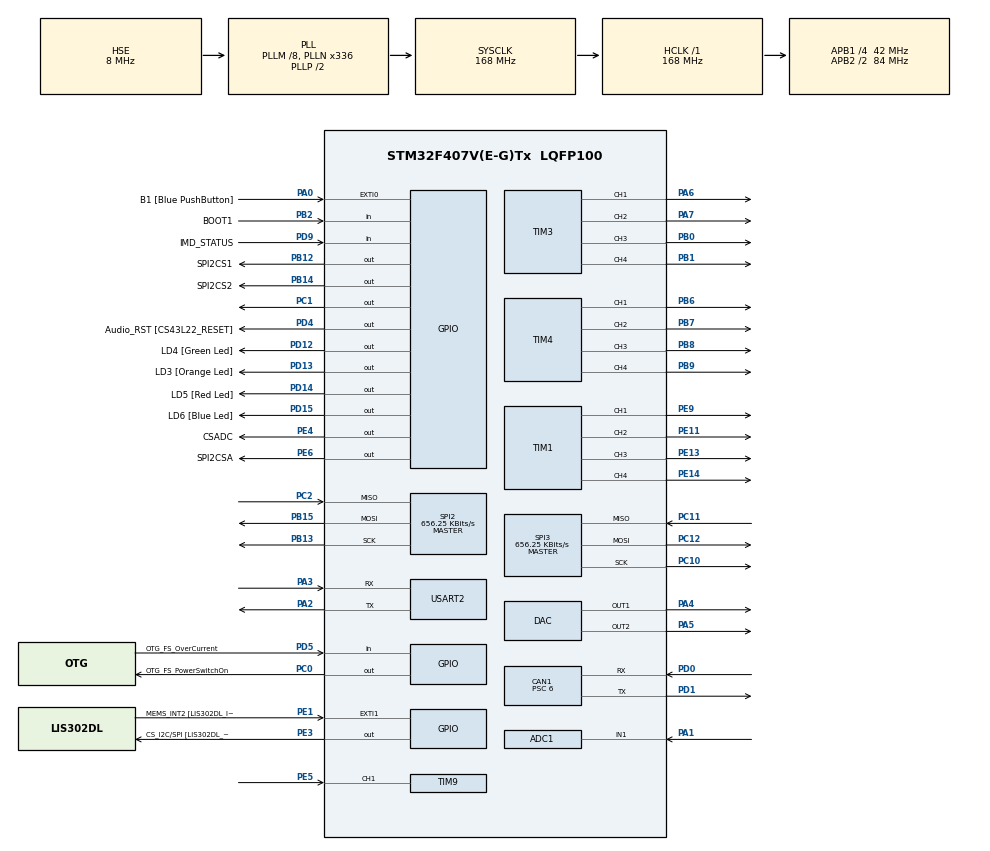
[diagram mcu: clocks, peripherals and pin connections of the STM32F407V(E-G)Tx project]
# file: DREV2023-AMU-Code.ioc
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ADC1.Channel-0\#ChannelRegularConversion=ADC_CHANNEL_1
ADC1.InjNumberOfConversion=0
ADC1.NbrOfConversionFlag=1
ADC1.Rank-0\#ChannelRegularConversion=1
ADC1.SamplingTime-0\#ChannelRegularConversion=ADC_SAMPLETIME_3CYCLES
ADC1.master=1
CAN1.BS1=CAN_BS1_11TQ
CAN1.BS2=CAN_BS2_2TQ
CAN1.CalculateBaudRate=500000
CAN1.CalculateTimeBit=2000
CAN1.CalculateTimeQuantum=142.85714285714286
CAN1.Prescaler=6
Dma.Request0=USART2_RX
Dma.USART2_RX.0.Direction=DMA_PERIPH_TO_MEMORY
Dma.USART2_RX.0.FIFOMode=DMA_FIFOMODE_DISABLE
Dma.USART2_RX.0.Instance=DMA1_Stream5
Dma.USART2_RX.0.MemDataAlignment=DMA_MDATAALIGN_BYTE
Dma.USART2_RX.0.MemInc=DMA_MINC_ENABLE
Dma.USART2_RX.0.Mode=DMA_CIRCULAR
Dma.USART2_RX.0.PeriphDataAlignment=DMA_PDATAALIGN_BYTE
Dma.USART2_RX.0.PeriphInc=DMA_PINC_DISABLE
Dma.USART2_RX.0.Priority=DMA_PRIORITY_MEDIUM
FREERTOS.Mutexes01=uart_mutex,Dynamic,NULL
FREERTOS.Tasks01=TempTask,36,128,Start_Temp_Mon,Default,NULL,Dynamic,NULL,NULL;V_Monitor,38,256,Start_V_Mon,Default,NULL,Dynamic,NULL,NULL;CLI,48,256,CLI_START,Default,NULL,Dynamic,NULL,NULL;Disp_V,8,128,Start_V_Display,Default,NULL,Dynamic,NULL,NULL;Charge,8,128,Start_Charging,Default,NULL,Dynamic,NULL,NULL;Discharge,8,128,Start_Discharging,Default,NULL,Dynamic,NULL,NULL;Balance,8,128,Start_Balancing,Default,NULL,Dynamic,NULL,NULL;HAL_CURR_COLL,8,128,Start_CURR_COLL,Default,NULL,Dynamic,NULL,NULL;Safety_Check,44,128,StartSafetyCheck,Default,NULL,Dynamic,NULL,NULL;To_ECU,8,128,ToECUTask,Default,NULL,Dynamic,NULL,NULL
FREERTOS.configENABLE_FPU=1
FREERTOS.configUSE_DAEMON_TASK_STARTUP_HOOK=1
FREERTOS.configUSE_NEWLIB_REENTRANT=1
Mcu.Family=STM32F4
Mcu.Name=STM32F407V(E-G)Tx
Mcu.Package=LQFP100
NVIC.DMA1_Stream5_IRQn=true\:5\:0\:false\:false\:true\:true\:false\:true\:true
NVIC.PriorityGroup=NVIC_PRIORITYGROUP_4
NVIC.TIM1_BRK_TIM9_IRQn=true\:5\:0\:false\:false\:true\:true\:true\:true\:true
NVIC.TIM2_IRQn=true\:15\:0\:false\:false\:true\:false\:false\:true\:true
NVIC.TimeBase=TIM2_IRQn
NVIC.TimeBaseIP=TIM2
NVIC.USART2_IRQn=true\:5\:0\:false\:false\:true\:true\:true\:true\:true
PA0-WKUP.GPIO_Label=B1 [Blue PushButton]
PA0-WKUP.GPIO_ModeDefaultEXTI=GPIO_MODE_EVT_RISING
PA0-WKUP.GPIO_PuPd=GPIO_NOPULL
PA0-WKUP.Signal=GPXTI0
PA1.Signal=ADCx_IN1
PA13.GPIO_Label=SWDIO
PA13.Mode=Serial_Wire
PA13.Signal=SYS_JTMS-SWDIO
PA14.GPIO_Label=SWCLK
PA14.Mode=Serial_Wire
PA14.Signal=SYS_JTCK-SWCLK
PA2.Mode=Asynchronous
PA2.Signal=USART2_TX
PA3.Mode=Asynchronous
PA3.Signal=USART2_RX
PA4.Signal=COMP_DAC1_group
PA5.Signal=COMP_DAC2_group
PA6.Signal=S_TIM3_CH1
PA7.Signal=S_TIM3_CH2
PB0.Signal=S_TIM3_CH3
PB1.Signal=S_TIM3_CH4
PB12.GPIO_Label=SPI2CS1
PB12.Signal=GPIO_Output
PB13.Mode=Full_Duplex_Master
PB13.Signal=SPI2_SCK
PB14.GPIO_Label=SPI2CS2
PB14.Signal=GPIO_Output
PB15.Mode=Full_Duplex_Master
PB15.Signal=SPI2_MOSI
PB2.GPIO_Label=BOOT1
PB2.GPIO_Mode=GPIO_MODE_INPUT
PB2.GPIO_PuPd=GPIO_NOPULL
PB2.Signal=GPIO_Input
PB6.Signal=S_TIM4_CH1
PB7.Signal=S_TIM4_CH2
PB8.Signal=S_TIM4_CH3
PB9.Signal=S_TIM4_CH4
PC0.GPIO_Label=OTG_FS_PowerSwitchOn
PC0.GPIO_PuPd=GPIO_NOPULL
PC0.GPIO_Speed=GPIO_SPEED_FREQ_LOW
PC0.PinState=GPIO_PIN_SET
PC0.Signal=GPIO_Output
PC1.Signal=GPIO_Output
PC10.Mode=Full_Duplex_Master
PC10.Signal=SPI3_SCK
PC11.Mode=Full_Duplex_Master
PC11.Signal=SPI3_MISO
PC12.Mode=Full_Duplex_Master
PC12.Signal=SPI3_MOSI
PC14-OSC32_IN.GPIO_Label=PC14-OSC32_IN
PC14-OSC32_IN.Mode=LSE-External-Oscillator
PC14-OSC32_IN.Signal=RCC_OSC32_IN
PC15-OSC32_OUT.GPIO_Label=PC15-OSC32_OUT
PC15-OSC32_OUT.Mode=LSE-External-Oscillator
PC15-OSC32_OUT.Signal=RCC_OSC32_OUT
PC2.Mode=Full_Duplex_Master
PC2.Signal=SPI2_MISO
PC3.GPIO_Label=PDM_OUT [MP45DT02_DOUT]
PC3.GPIO_Mode=GPIO_MODE_AF_PP
PC3.GPIO_PuPd=GPIO_NOPULL
PC3.GPIO_Speed=GPIO_SPEED_FREQ_LOW
PC3.Signal=I2S2_SD
PD0.Mode=CAN_Activate
PD0.Signal=CAN1_RX
PD1.Mode=CAN_Activate
PD1.Signal=CAN1_TX
PD12.GPIO_Label=LD4 [Green Led]
PD12.GPIO_PuPd=GPIO_NOPULL
PD12.GPIO_Speed=GPIO_SPEED_FREQ_LOW
PD12.Signal=GPIO_Output
PD13.GPIO_Label=LD3 [Orange Led]
PD13.GPIO_PuPd=GPIO_NOPULL
PD13.GPIO_Speed=GPIO_SPEED_FREQ_LOW
PD13.Signal=GPIO_Output
PD14.GPIO_Label=LD5 [Red Led]
PD14.GPIO_PuPd=GPIO_NOPULL
PD14.GPIO_Speed=GPIO_SPEED_FREQ_LOW
PD14.Signal=GPIO_Output
PD15.GPIO_Label=LD6 [Blue Led]
PD15.GPIO_PuPd=GPIO_NOPULL
PD15.GPIO_Speed=GPIO_SPEED_FREQ_LOW
PD15.Signal=GPIO_Output
PD4.GPIO_Label=Audio_RST [CS43L22_RESET]
PD4.GPIO_PuPd=GPIO_NOPULL
PD4.GPIO_Speed=GPIO_SPEED_FREQ_LOW
PD4.Signal=GPIO_Output
PD5.GPIO_Label=OTG_FS_OverCurrent
PD5.GPIO_Mode=GPIO_MODE_INPUT
PD5.GPIO_PuPd=GPIO_NOPULL
PD5.Signal=GPIO_Input
PD9.GPIO_Label=IMD_STATUS
PD9.Signal=GPIO_Input
PE1.GPIO_Label=MEMS_INT2 [LIS302DL_INT2]
PE1.GPIO_ModeDefaultEXTI=GPIO_MODE_EVT_RISING
PE1.GPIO_PuPd=GPIO_NOPULL
PE1.Signal=GPXTI1
PE11.Signal=S_TIM1_CH2
PE13.Signal=S_TIM1_CH3
PE14.Signal=S_TIM1_CH4
PE3.GPIO_Label=CS_I2C/SPI [LIS302DL_CS_I2C/SPI]
PE3.GPIO_PuPd=GPIO_NOPULL
PE3.GPIO_Speed=GPIO_SPEED_FREQ_LOW
PE3.Signal=GPIO_Output
PE4.GPIO_Label=CSADC
PE4.Signal=GPIO_Output
PE5.Signal=S_TIM9_CH1
PE6.GPIO_Label=SPI2CSA
PE6.Signal=GPIO_Output
PE9.Signal=S_TIM1_CH1
PH0-OSC_IN.GPIO_Label=PH0-OSC_IN
PH0-OSC_IN.Mode=HSE-External-Oscillator
PH0-OSC_IN.Signal=RCC_OSC_IN
PH1-OSC_OUT.GPIO_Label=PH1-OSC_OUT
PH1-OSC_OUT.Mode=HSE-External-Oscillator
PH1-OSC_OUT.Signal=RCC_OSC_OUT
ProjectManager.HeapSize=0x200
ProjectManager.StackSize=0x400
ProjectManager.TargetToolchain=STM32CubeIDE
RCC.48MHZClocksFreq_Value=48000000
RCC.AHBFreq_Value=168000000
RCC.APB1CLKDivider=RCC_HCLK_DIV4
RCC.APB1Freq_Value=42000000
RCC.APB1TimFreq_Value=84000000
RCC.APB2CLKDivider=RCC_HCLK_DIV2
RCC.APB2Freq_Value=84000000
RCC.APB2TimFreq_Value=168000000
RCC.CortexFreq_Value=168000000
RCC.HCLKFreq_Value=168000000
RCC.HSE_VALUE=8000000
RCC.HSI_VALUE=16000000
RCC.PLLM=8
RCC.PLLN=336
RCC.PLLQ=7
RCC.PLLSourceVirtual=RCC_PLLSOURCE_HSE
RCC.SYSCLKFreq_VALUE=168000000
RCC.SYSCLKSource=RCC_SYSCLKSOURCE_PLLCLK
RCC.VCOOutputFreq_Value=336000000
SH.ADCx_IN1.0=ADC1_IN1,IN1
SH.COMP_DAC1_group.0=DAC_OUT1,DAC_OUT1
SH.COMP_DAC2_group.0=DAC_OUT2,DAC_OUT2
SH.S_TIM1_CH1.0=TIM1_CH1,PWM Generation1 CH1
SH.S_TIM1_CH2.0=TIM1_CH2,PWM Generation2 CH2
SH.S_TIM1_CH3.0=TIM1_CH3,PWM Generation3 CH3
SH.S_TIM1_CH4.0=TIM1_CH4,PWM Generation4 CH4
SH.S_TIM3_CH1.0=TIM3_CH1,PWM Generation1 CH1
SH.S_TIM3_CH2.0=TIM3_CH2,PWM Generation2 CH2
SH.S_TIM3_CH3.0=TIM3_CH3,PWM Generation3 CH3
SH.S_TIM3_CH4.0=TIM3_CH4,PWM Generation4 CH4
SH.S_TIM4_CH1.0=TIM4_CH1,PWM Generation1 CH1
SH.S_TIM4_CH2.0=TIM4_CH2,PWM Generation2 CH2
SH.S_TIM4_CH3.0=TIM4_CH3,PWM Generation3 CH3
SH.S_TIM4_CH4.0=TIM4_CH4,PWM Generation4 CH4
SH.S_TIM9_CH1.0=TIM9_CH1,PWM_Input_1
SPI2.BaudRatePrescaler=SPI_BAUDRATEPRESCALER_64
SPI2.CLKPhase=SPI_PHASE_1EDGE
SPI2.CLKPolarity=SPI_POLARITY_LOW
SPI2.CalculateBaudRate=656.25 KBits/s
SPI2.Direction=SPI_DIRECTION_2LINES
SPI2.Mode=SPI_MODE_MASTER
SPI2.VirtualType=VM_MASTER
SPI3.BaudRatePrescaler=SPI_BAUDRATEPRESCALER_64
SPI3.CalculateBaudRate=656.25 KBits/s
SPI3.Direction=SPI_DIRECTION_2LINES
SPI3.Mode=SPI_MODE_MASTER
SPI3.VirtualType=VM_MASTER
TIM1.Channel-PWM\ Generation1\ CH1=TIM_CHANNEL_1
TIM1.Channel-PWM\ Generation2\ CH2=TIM_CHANNEL_2
TIM1.Channel-PWM\ Generation3\ CH3=TIM_CHANNEL_3
TIM1.Channel-PWM\ Generation4\ CH4=TIM_CHANNEL_4
TIM10.AutoReloadPreload=TIM_AUTORELOAD_PRELOAD_DISABLE
TIM10.Period=65535
TIM10.Prescaler=167
TIM12.Prescaler=16800
TIM3.Channel-PWM\ Generation1\ CH1=TIM_CHANNEL_1
TIM3.Channel-PWM\ Generation2\ CH2=TIM_CHANNEL_2
TIM3.Channel-PWM\ Generation3\ CH3=TIM_CHANNEL_3
TIM3.Channel-PWM\ Generation4\ CH4=TIM_CHANNEL_4
TIM4.Channel-PWM\ Generation1\ CH1=TIM_CHANNEL_1
TIM4.Channel-PWM\ Generation2\ CH2=TIM_CHANNEL_2
TIM4.Channel-PWM\ Generation3\ CH3=TIM_CHANNEL_3
TIM4.Channel-PWM\ Generation4\ CH4=TIM_CHANNEL_4
TIM8.Prescaler=167
TIM9.Prescaler=0
USART2.VirtualMode=VM_ASYNC
VP_FREERTOS_VS_CMSIS_V2.Mode=CMSIS_V2
VP_SYS_VS_tim2.Mode=TIM2
VP_TIM10_VS_ClockSourceINT.Mode=Enable_Timer
VP_TIM12_VS_ClockSourceINT.Mode=Internal
VP_TIM1_VS_ClockSourceINT.Mode=Internal
VP_TIM3_VS_ClockSourceINT.Mode=Internal
VP_TIM4_VS_ClockSourceINT.Mode=Internal
VP_TIM8_VS_ClockSourceINT.Mode=Internal
VP_TIM9_VS_ClockSourceINT.Mode=Internal
board=STM32F407G-DISC1

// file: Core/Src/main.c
/* USER CODE BEGIN Header */
/**
  ******************************************************************************
  * @file           : main.c
  * @brief          : Main program body
  ******************************************************************************
  * @attention
  *
  * Copyright (c) 2023 STMicroelectronics.
  * All rights reserved.
  *
  * This software is licensed under terms that can be found in the LICENSE file
  * in the root directory of this software component.
  * If no LICENSE file comes with this software, it is provided AS-IS.
  *
  ******************************************************************************
  */
/* USER CODE END Header */
#include "main.h"
#include "cmsis_os.h"

/* USER CODE BEGIN PD */

#ifdef __GNUC__
#define PUTCHAR_PROTOTYPE int __io_putchar(int ch)
#else
#define PUTCHAR_PROTOTYPE int fputc(int ch, FILE *f)
#endif

#define ENABLED 1
#define DISABLED 0
#define PWM 1
#define SCTL 2
#define DEBUGG 0

/* USER CODE END PD */

ADC_HandleTypeDef hadc1;

CAN_HandleTypeDef hcan1;

DAC_HandleTypeDef hdac;

SPI_HandleTypeDef hspi2;
SPI_HandleTypeDef hspi3;

TIM_HandleTypeDef htim1;
TIM_HandleTypeDef htim3;
TIM_HandleTypeDef htim4;
TIM_HandleTypeDef htim8;
TIM_HandleTypeDef htim9;
TIM_HandleTypeDef htim10;
TIM_HandleTypeDef htim12;

UART_HandleTypeDef huart2;
DMA_HandleTypeDef hdma_usart2_rx;

/* Definitions for TempTask */
osThreadId_t TempTaskHandle;
const osThreadAttr_t TempTask_attributes = {
  .name = "TempTask",
  .stack_size = 128 * 4,
  .priority = (osPriority_t) osPriorityAboveNormal4,
};
/* Definitions for V_Monitor */
osThreadId_t V_MonitorHandle;
const osThreadAttr_t V_Monitor_attributes = {
  .name = "V_Monitor",
  .stack_size = 256 * 4,
  .priority = (osPriority_t) osPriorityAboveNormal6,
};
/* Definitions for CLI */
osThreadId_t CLIHandle;
const osThreadAttr_t CLI_attributes = {
  .name = "CLI",
  .stack_size = 256 * 4,
  .priority = (osPriority_t) osPriorityRealtime,
};
/* Definitions for Disp_V */
osThreadId_t Disp_VHandle;
const osThreadAttr_t Disp_V_attributes = {
  .name = "Disp_V",
  .stack_size = 128 * 4,
  .priority = (osPriority_t) osPriorityLow,
};
/* Definitions for Charge */
osThreadId_t ChargeHandle;
const osThreadAttr_t Charge_attributes = {
  .name = "Charge",
  .stack_size = 128 * 4,
  .priority = (osPriority_t) osPriorityLow,
};
/* Definitions for Discharge */
osThreadId_t DischargeHandle;
const osThreadAttr_t Discharge_attributes = {
  .name = "Discharge",
  .stack_size = 128 * 4,
  .priority = (osPriority_t) osPriorityLow,
};
/* Definitions for Balance */
osThreadId_t BalanceHandle;
const osThreadAttr_t Balance_attributes = {
  .name = "Balance",
  .stack_size = 128 * 4,
  .priority = (osPriority_t) osPriorityLow,
};
/* Definitions for HAL_CURR_COLL */
osThreadId_t HAL_CURR_COLLHandle;
const osThreadAttr_t HAL_CURR_COLL_attributes = {
  .name = "HAL_CURR_COLL",
  .stack_size = 128 * 4,
  .priority = (osPriority_t) osPriorityLow,
};
/* Definitions for Safety_Check */
osThreadId_t Safety_CheckHandle;
const osThreadAttr_t Safety_Check_attributes = {
  .name = "Safety_Check",
  .stack_size = 128 * 4,
  .priority = (osPriority_t) osPriorityHigh4,
};
/* Definitions for To_ECU */
osThreadId_t To_ECUHandle;
const osThreadAttr_t To_ECU_attributes = {
  .name = "To_ECU",
  .stack_size = 128 * 4,
  .priority = (osPriority_t) osPriorityLow,
};
/* Definitions for uart_mutex */
osMutexId_t uart_mutexHandle;
const osMutexAttr_t uart_mutex_attributes = {
  .name = "uart_mutex"
};
/* USER CODE BEGIN PV */

const uint16_t MEASUREMENT_LOOP_TIME = 500; //!< Loop Time in milliseconds(ms)

//Under Voltage and Over Voltage Thresholds
const uint16_t OV_THRESHOLD = 41000; //!< Over voltage threshold ADC Code. LSB = 0.0001 ---(4.1V)
const uint16_t UV_THRESHOLD = 30000; //!< Under voltage threshold ADC Code. LSB = 0.0001 ---(3V)

//Loop Measurement Setup. These Variables are ENABLED or DISABLED. Remember ALL CAPS
const uint8_t WRITE_CONFIG = DISABLED;  //!< This is to ENABLED or DISABLED writing into to configuration registers in a continuous loop
const uint8_t READ_CONFIG = DISABLED; //!< This is to ENABLED or DISABLED reading the configuration registers in a continuous loop
const uint8_t MEASURE_CELL = ENABLED; //!< This is to ENABLED or DISABLED measuring the cell voltages in a continuous loop
const uint8_t MEASURE_AUX = DISABLED; //!< This is to ENABLED or DISABLED reading the auxiliary registers in a continuous loop
const uint8_t MEASURE_STAT = DISABLED; //!< This is to ENABLED or DISABLED reading the status registers in a continuous loop
const uint8_t PRINT_PEC = DISABLED; //!< This is to ENABLED or DISABLED printing the PEC Error Count in a continuous loop
/************************************
  END SETUP
*************************************/
/*******************************************************
 Global Battery Variables received from 681x commands
 These variables store the results from the LTC6813
 register reads and the array lengths must be based
 on the number of ICs on the stack
 ******************************************************/
cell_asic BMS_IC[TOTAL_IC]; //!< Global Battery Variable

uint8_t UART2_rxBuffer[1] = {0};

uint8_t uart_cmd = 0;

//uart cli
uint8_t rx_buf[RXBUF_SIZE];
uint8_t tx_buf[TXBUF_SIZE];
uint8_t command_buf[RXBUF_SIZE];
uint8_t cli_msg_pending;

DATALOG_DISABLED;
//declare app_data
static app_data a_d = {0};//static

/* USER CODE END PV */

void SystemClock_Config(void);
static void MX_GPIO_Init(void);
static void MX_DMA_Init(void);
static void MX_ADC1_Init(void);
static void MX_CAN1_Init(void);
static void MX_SPI2_Init(void);
static void MX_TIM1_Init(void);
static void MX_USART2_UART_Init(void);
static void MX_TIM3_Init(void);
static void MX_SPI3_Init(void);
static void MX_DAC_Init(void);
static void MX_TIM4_Init(void);
static void MX_TIM8_Init(void);
static void MX_TIM9_Init(void);
static void MX_TIM10_Init(void);
static void MX_TIM12_Init(void);
void Start_Temp_Mon(void *argument);
void Start_V_Mon(void *argument);
void CLI_START(void *argument);
void Start_V_Display(void *argument);
void Start_Charging(void *argument);
void Start_Discharging(void *argument);
void Start_Balancing(void *argument);
void Start_CURR_COLL(void *argument);
void StartSafetyCheck(void *argument);
void ToECUTask(void *argument);

/* USER CODE BEGIN PFP */
PUTCHAR_PROTOTYPE
{
  /* Place your implementation of fputc here */
  /* e.g. write a character to the USART1 and Loop until the end of transmission */
  HAL_UART_Transmit(&huart2, (uint8_t *)&ch, 1, HAL_MAX_DELAY);
  return ch;
}
/* USER CODE END PFP */

int main(void)
{
  /* USER CODE BEGIN 1 */
	a_d.ltc.OV_THRESHOLD = 0;

	a_d.ltc.REFON = 1; //!< Reference Powered Up Bit
	a_d.ltc.ADCOPT = 0; //!< ADC Mode option bit
	//!< GPIO Pin Control // Gpio 1,2,3,4,5
	a_d.ltc.GPIOBITS_A[0] = 1;a_d.ltc.GPIOBITS_A[1] = 1;a_d.ltc.GPIOBITS_A[2] = 1;a_d.ltc.GPIOBITS_A[3] = 1;a_d.ltc.GPIOBITS_A[4] = 1;
	//!< GPIO Pin Control // Gpio 6,7,8,9
	for(int i = 0; i<4;i++){
		a_d.ltc.GPIOBITS_B[i]=1;
	}
	a_d.ltc.UV=a_d.ltc.UV_THRESHOLD; //!< Under voltage Comparison Voltage
	a_d.ltc.OV=a_d.ltc.OV_THRESHOLD; //!< Over voltage Comparison Voltage
	//!< Discharge cell switch //Dcc 1,2,3,4,5,6,7,8,9,10,11,12
	for(int i = 0; i<4;i++){
		a_d.ltc.DCCBITS_A[i]=0;
	}
	//!< Discharge cell switch //Dcc 0,13,14,15
	for(int i = 0; i<7;i++){
		a_d.ltc.DCCBITS_B[i]=0;
	}
	//!< Discharge time value //Dcto 0,1,2,3  // Programed for 4 min
	a_d.ltc.DCTOBITS[0] = 1;a_d.ltc.DCTOBITS[1] = 0;a_d.ltc.DCTOBITS[2] = 1;a_d.ltc.DCTOBITS[3] = 0;
	/*Ensure that Dcto bits are set according to the required discharge time. Refer to the data sheet */
	a_d.ltc.FDRF = 0; //!< Force Digital Redundancy Failure Bit
	a_d.ltc.DTMEN = 1; //!< Enable Discharge Timer Monitor
	//!< Digital Redundancy Path Selection//ps-0,1
	a_d.ltc.PSBITS[0]= 0; a_d.ltc.PSBITS[1]= 0;
  /* USER CODE END 1 */

  /* MCU Configuration--------------------------------------------------------*/

  /* Reset of all peripherals, Initializes the Flash interface and the Systick. */
  HAL_Init();

  /* USER CODE BEGIN Init */
  LTC6813_init_cfg(TOTAL_IC, BMS_IC);
  LTC6813_init_cfgb(TOTAL_IC,BMS_IC);
  for (uint8_t current_ic = 0; current_ic<TOTAL_IC;current_ic++)
  {
    LTC6813_set_cfgr(current_ic,BMS_IC,a_d.ltc.REFON,a_d.ltc.ADCOPT,a_d.ltc.GPIOBITS_A,a_d.ltc.DCCBITS_A, a_d.ltc.DCTOBITS, a_d.ltc.UV, a_d.ltc.OV);
    LTC6813_set_cfgrb(current_ic,BMS_IC,a_d.ltc.FDRF,a_d.ltc.DTMEN,a_d.ltc.PSBITS,a_d.ltc.GPIOBITS_B,a_d.ltc.DCCBITS_B);
  }
  LTC6813_reset_crc_count(TOTAL_IC,BMS_IC);
  LTC6813_init_reg_limits(TOTAL_IC,BMS_IC);

  /* USER CODE END Init */

  /* Configure the system clock */
  SystemClock_Config();

  /* Initialize all configured peripherals */
  MX_GPIO_Init();
  MX_DMA_Init();
  MX_ADC1_Init();
  MX_CAN1_Init();
  MX_SPI2_Init();
  MX_TIM1_Init();
  MX_USART2_UART_Init();
  MX_TIM3_Init();
  MX_SPI3_Init();
  MX_DAC_Init();
  MX_TIM4_Init();
  MX_TIM8_Init();
  MX_TIM9_Init();
  MX_TIM10_Init();
  MX_TIM12_Init();
  /* USER CODE BEGIN 2 */
  a_d.hcan1 = &hcan1;
  a_d.hspi1 = &hspi2;//flip back
  a_d.hspi2 = &hspi3;//flip bakc
  a_d.huart2 = &huart2;
  a_d.hdma_usart2_rx = &hdma_usart2_rx;
  a_d.htim1 = &htim1;
  a_d.htim3 = &htim3;
  a_d.htim4 = &htim4;
  a_d.htim8 = &htim8;
  a_d.htim9 = &htim9;
  a_d.htim10 = &htim10;
  a_d.htim12 = &htim12;
  a_d.hdac = &hdac;
  a_d.hadc = &hadc1;
  a_d.BMS_IC = BMS_IC;
  a_d.debug = 0;
  a_d.Freq = 0;
  a_d.Duty = 0;
  a_d.stop_flag = 0;
  a_d.s_pin = 0;
  a_d.max_curr = 10;
  //printf(" ad:%d reg:%d",a_d.max_curr,max_curr);
  a_d.max_cell_volt = 4.2;
  a_d.min_cell_volt = 2.5;
  a_d.max_sys_volt = a_d.max_cell_volt*24;
  a_d.min_sys_volt = a_d.min_cell_volt*24;
  a_d.temp_safe = 1;
  a_d.volt_safe = 1;
  a_d.curr_safe = 1;
  a_d.max_soc = 0;
  a_d.min_soc = 0;
  a_d.VDisp = 0;
  a_d.shutdown = 0;
  a_d.mode = 127;
  a_d.ltcstring = 0;
  printf(" ad:%d reg:%d\r\n",a_d.mode,127);
  a_d.hall_current = 0;
  init_appdata(&a_d);

  //printf("a_d.max_curr %d\r\n",*a_d.max_curr);

  printf("LETSS GOOOOOOO\r\n");

  //HAL_GPIO_WritePin(GPIOA, GPIO_PIN_4, GPIO_PIN_SET);
  HAL_TIM_Base_Start(&htim1);
  HAL_TIM_Base_Start(&htim3);
  HAL_TIM_Base_Start(&htim4);
  HAL_TIM_Base_Start(&htim8);
  HAL_TIM_Base_Start(&htim9);
  HAL_TIM_Base_Start(&htim10);
  HAL_TIM_Base_Start(&htim12);

  HAL_TIM_PWM_Start(&htim1, TIM_CHANNEL_1);
  HAL_TIM_PWM_Start(&htim1, TIM_CHANNEL_2);
  HAL_TIM_PWM_Start(&htim1, TIM_CHANNEL_3);
  HAL_TIM_PWM_Start(&htim1, TIM_CHANNEL_4);
  HAL_TIM_PWM_Start(&htim3, TIM_CHANNEL_1);
  HAL_TIM_PWM_Start(&htim3, TIM_CHANNEL_2);
  HAL_TIM_PWM_Start(&htim3, TIM_CHANNEL_3);
  HAL_TIM_PWM_Start(&htim3, TIM_CHANNEL_4);
  HAL_TIM_PWM_Start(&htim4, TIM_CHANNEL_1);
  HAL_TIM_PWM_Start(&htim4, TIM_CHANNEL_2);
  HAL_TIM_PWM_Start(&htim4, TIM_CHANNEL_3);
  HAL_TIM_PWM_Start(&htim4, TIM_CHANNEL_4);

  HAL_DAC_Start(&hdac, DAC_CHANNEL_1);
  HAL_DAC_Start(&hdac, DAC_CHANNEL_2);
  HAL_ADC_Start(&hadc1);

  HAL_TIM_IC_Start_IT(&htim9, TIM_CHANNEL_1); // Primary channel - rising edge
  HAL_TIM_IC_Start(&htim9, TIM_CHANNEL_2);    // Secondary channel - falling edge

  //HAL_UART_Receive_IT (&huart2, UART2_rxBuffer, 1);
  __HAL_UART_ENABLE_IT(&huart2, UART_IT_IDLE);
  HAL_UART_Receive_DMA(&huart2, rx_buf, RXBUF_SIZE);
  /* USER CODE END 2 */

  /* Init scheduler */
  osKernelInitialize();
  /* Create the mutex(es) */
  /* creation of uart_mutex */
  uart_mutexHandle = osMutexNew(&uart_mutex_attributes);

  /* Create the thread(s) */
  /* creation of TempTask */
  TempTaskHandle = osThreadNew(Start_Temp_Mon, NULL, &TempTask_attributes);

  /* creation of V_Monitor */
  V_MonitorHandle = osThreadNew(Start_V_Mon, NULL, &V_Monitor_attributes);

  /* creation of CLI */
  CLIHandle = osThreadNew(CLI_START, NULL, &CLI_attributes);

  /* creation of Disp_V */
  Disp_VHandle = osThreadNew(Start_V_Display, NULL, &Disp_V_attributes);

  /* creation of Charge */
  ChargeHandle = osThreadNew(Start_Charging, NULL, &Charge_attributes);

  /* creation of Discharge */
  DischargeHandle = osThreadNew(Start_Discharging, NULL, &Discharge_attributes);

  /* creation of Balance */
  BalanceHandle = osThreadNew(Start_Balancing, NULL, &Balance_attributes);

  /* creation of HAL_CURR_COLL */
  HAL_CURR_COLLHandle = osThreadNew(Start_CURR_COLL, NULL, &HAL_CURR_COLL_attributes);

  /* creation of Safety_Check */
  Safety_CheckHandle = osThreadNew(StartSafetyCheck, NULL, &Safety_Check_attributes);

  /* creation of To_ECU */
  To_ECUHandle = osThreadNew(ToECUTask, NULL, &To_ECU_attributes);

  /* Start scheduler */
  osKernelStart();

  /* We should never get here as control is now taken by the scheduler */
  /* Infinite loop */
  while (1)
  {

  }
}

void SystemClock_Config(void)
{
  RCC_OscInitTypeDef RCC_OscInitStruct = {0};
  RCC_ClkInitTypeDef RCC_ClkInitStruct = {0};

  /** Configure the main internal regulator output voltage
  */
  __HAL_RCC_PWR_CLK_ENABLE();
  __HAL_PWR_VOLTAGESCALING_CONFIG(PWR_REGULATOR_VOLTAGE_SCALE1);

  /** Initializes the RCC Oscillators according to the specified parameters
  * in the RCC_OscInitTypeDef structure.
  */
  RCC_OscInitStruct.OscillatorType = RCC_OSCILLATORTYPE_HSE;
  RCC_OscInitStruct.HSEState = RCC_HSE_ON;
  RCC_OscInitStruct.PLL.PLLState = RCC_PLL_ON;
  RCC_OscInitStruct.PLL.PLLSource = RCC_PLLSOURCE_HSE;
  RCC_OscInitStruct.PLL.PLLM = 8;
  RCC_OscInitStruct.PLL.PLLN = 336;
  RCC_OscInitStruct.PLL.PLLP = RCC_PLLP_DIV2;
  RCC_OscInitStruct.PLL.PLLQ = 7;
  if (HAL_RCC_OscConfig(&RCC_OscInitStruct) != HAL_OK)
  {
    Error_Handler();
  }

  /** Initializes the CPU, AHB and APB buses clocks
  */
  RCC_ClkInitStruct.ClockType = RCC_CLOCKTYPE_HCLK|RCC_CLOCKTYPE_SYSCLK
                              |RCC_CLOCKTYPE_PCLK1|RCC_CLOCKTYPE_PCLK2;
  RCC_ClkInitStruct.SYSCLKSource = RCC_SYSCLKSOURCE_PLLCLK;
  RCC_ClkInitStruct.AHBCLKDivider = RCC_SYSCLK_DIV1;
  RCC_ClkInitStruct.APB1CLKDivider = RCC_HCLK_DIV4;
  RCC_ClkInitStruct.APB2CLKDivider = RCC_HCLK_DIV2;

  if (HAL_RCC_ClockConfig(&RCC_ClkInitStruct, FLASH_LATENCY_5) != HAL_OK)
  {
    Error_Handler();
  }
}

static void MX_ADC1_Init(void)
{

  ADC_ChannelConfTypeDef sConfig = {0};

  /** Configure the global features of the ADC (Clock, Resolution, Data Alignment and number of conversion)
  */
  hadc1.Instance = ADC1;
  hadc1.Init.ClockPrescaler = ADC_CLOCK_SYNC_PCLK_DIV4;
  hadc1.Init.Resolution = ADC_RESOLUTION_12B;
  hadc1.Init.ScanConvMode = DISABLE;
  hadc1.Init.ContinuousConvMode = DISABLE;
  hadc1.Init.DiscontinuousConvMode = DISABLE;
  hadc1.Init.ExternalTrigConvEdge = ADC_EXTERNALTRIGCONVEDGE_NONE;
  hadc1.Init.ExternalTrigConv = ADC_SOFTWARE_START;
  hadc1.Init.DataAlign = ADC_DATAALIGN_RIGHT;
  hadc1.Init.NbrOfConversion = 1;
  hadc1.Init.DMAContinuousRequests = DISABLE;
  hadc1.Init.EOCSelection = ADC_EOC_SINGLE_CONV;
  if (HAL_ADC_Init(&hadc1) != HAL_OK)
  {
    Error_Handler();
  }

  /** Configure for the selected ADC regular channel its corresponding rank in the sequencer and its sample time.
  */
  sConfig.Channel = ADC_CHANNEL_1;
  sConfig.Rank = 1;
  sConfig.SamplingTime = ADC_SAMPLETIME_3CYCLES;
  if (HAL_ADC_ConfigChannel(&hadc1, &sConfig) != HAL_OK)
  {
    Error_Handler();
  }

}

static void MX_CAN1_Init(void)
{

  hcan1.Instance = CAN1;
  hcan1.Init.Prescaler = 6;
  hcan1.Init.Mode = CAN_MODE_NORMAL;
  hcan1.Init.SyncJumpWidth = CAN_SJW_1TQ;
  hcan1.Init.TimeSeg1 = CAN_BS1_11TQ;
  hcan1.Init.TimeSeg2 = CAN_BS2_2TQ;
  hcan1.Init.TimeTriggeredMode = DISABLE;
  hcan1.Init.AutoBusOff = DISABLE;
  hcan1.Init.AutoWakeUp = DISABLE;
  hcan1.Init.AutoRetransmission = DISABLE;
  hcan1.Init.ReceiveFifoLocked = DISABLE;
  hcan1.Init.TransmitFifoPriority = DISABLE;
  if (HAL_CAN_Init(&hcan1) != HAL_OK)
  {
    Error_Handler();
  }
  /* USER CODE BEGIN CAN1_Init 2 */
  HAL_CAN_Start(&hcan1);
  /* USER CODE END CAN1_Init 2 */

}

static void MX_DAC_Init(void)
{

  DAC_ChannelConfTypeDef sConfig = {0};

  /** DAC Initialization
  */
  hdac.Instance = DAC;
  if (HAL_DAC_Init(&hdac) != HAL_OK)
  {
    Error_Handler();
  }

  /** DAC channel OUT1 config
  */
  sConfig.DAC_Trigger = DAC_TRIGGER_NONE;
  sConfig.DAC_OutputBuffer = DAC_OUTPUTBUFFER_ENABLE;
  if (HAL_DAC_ConfigChannel(&hdac, &sConfig, DAC_CHANNEL_1) != HAL_OK)
  {
    Error_Handler();
  }

  /** DAC channel OUT2 config
  */
  if (HAL_DAC_ConfigChannel(&hdac, &sConfig, DAC_CHANNEL_2) != HAL_OK)
  {
    Error_Handler();
  }

}

static void MX_SPI2_Init(void)
{

  /* SPI2 parameter configuration*/
  hspi2.Instance = SPI2;
  hspi2.Init.Mode = SPI_MODE_MASTER;
  hspi2.Init.Direction = SPI_DIRECTION_2LINES;
  hspi2.Init.DataSize = SPI_DATASIZE_8BIT;
  hspi2.Init.CLKPolarity = SPI_POLARITY_LOW;
  hspi2.Init.CLKPhase = SPI_PHASE_1EDGE;
  hspi2.Init.NSS = SPI_NSS_SOFT;
  hspi2.Init.BaudRatePrescaler = SPI_BAUDRATEPRESCALER_64;
  hspi2.Init.FirstBit = SPI_FIRSTBIT_MSB;
  hspi2.Init.TIMode = SPI_TIMODE_DISABLE;
  hspi2.Init.CRCCalculation = SPI_CRCCALCULATION_DISABLE;
  hspi2.Init.CRCPolynomial = 10;
  if (HAL_SPI_Init(&hspi2) != HAL_OK)
  {
    Error_Handler();
  }

}

static void MX_SPI3_Init(void)
{

  /* SPI3 parameter configuration*/
  hspi3.Instance = SPI3;
  hspi3.Init.Mode = SPI_MODE_MASTER;
  hspi3.Init.Direction = SPI_DIRECTION_2LINES;
  hspi3.Init.DataSize = SPI_DATASIZE_8BIT;
  hspi3.Init.CLKPolarity = SPI_POLARITY_LOW;
  hspi3.Init.CLKPhase = SPI_PHASE_1EDGE;
  hspi3.Init.NSS = SPI_NSS_SOFT;
  hspi3.Init.BaudRatePrescaler = SPI_BAUDRATEPRESCALER_64;
  hspi3.Init.FirstBit = SPI_FIRSTBIT_MSB;
  hspi3.Init.TIMode = SPI_TIMODE_DISABLE;
  hspi3.Init.CRCCalculation = SPI_CRCCALCULATION_DISABLE;
  hspi3.Init.CRCPolynomial = 10;
  if (HAL_SPI_Init(&hspi3) != HAL_OK)
  {
    Error_Handler();
  }

}

static void MX_TIM1_Init(void)
{

  TIM_ClockConfigTypeDef sClockSourceConfig = {0};
  TIM_MasterConfigTypeDef sMasterConfig = {0};
  TIM_OC_InitTypeDef sConfigOC = {0};
  TIM_BreakDeadTimeConfigTypeDef sBreakDeadTimeConfig = {0};

  htim1.Instance = TIM1;
  htim1.Init.Prescaler = 0;
  htim1.Init.CounterMode = TIM_COUNTERMODE_UP;
  htim1.Init.Period = 65535;
  htim1.Init.ClockDivision = TIM_CLOCKDIVISION_DIV1;
  htim1.Init.RepetitionCounter = 0;
  htim1.Init.AutoReloadPreload = TIM_AUTORELOAD_PRELOAD_DISABLE;
  if (HAL_TIM_Base_Init(&htim1) != HAL_OK)
  {
    Error_Handler();
  }
  sClockSourceConfig.ClockSource = TIM_CLOCKSOURCE_INTERNAL;
  if (HAL_TIM_ConfigClockSource(&htim1, &sClockSourceConfig) != HAL_OK)
  {
    Error_Handler();
  }
  if (HAL_TIM_PWM_Init(&htim1) != HAL_OK)
  {
    Error_Handler();
  }
  sMasterConfig.MasterOutputTrigger = TIM_TRGO_RESET;
  sMasterConfig.MasterSlaveMode = TIM_MASTERSLAVEMODE_DISABLE;
  if (HAL_TIMEx_MasterConfigSynchronization(&htim1, &sMasterConfig) != HAL_OK)
  {
    Error_Handler();
  }
  sConfigOC.OCMode = TIM_OCMODE_PWM1;
  sConfigOC.Pulse = 0;
  sConfigOC.OCPolarity = TIM_OCPOLARITY_HIGH;
  sConfigOC.OCNPolarity = TIM_OCNPOLARITY_HIGH;
  sConfigOC.OCFastMode = TIM_OCFAST_DISABLE;
  sConfigOC.OCIdleState = TIM_OCIDLESTATE_RESET;
  sConfigOC.OCNIdleState = TIM_OCNIDLESTATE_RESET;
  if (HAL_TIM_PWM_ConfigChannel(&htim1, &sConfigOC, TIM_CHANNEL_1) != HAL_OK)
  {
    Error_Handler();
  }
  if (HAL_TIM_PWM_ConfigChannel(&htim1, &sConfigOC, TIM_CHANNEL_2) != HAL_OK)
  {
    Error_Handler();
  }
  if (HAL_TIM_PWM_ConfigChannel(&htim1, &sConfigOC, TIM_CHANNEL_3) != HAL_OK)
  {
    Error_Handler();
  }
  if (HAL_TIM_PWM_ConfigChannel(&htim1, &sConfigOC, TIM_CHANNEL_4) != HAL_OK)
  {
    Error_Handler();
  }
  sBreakDeadTimeConfig.OffStateRunMode = TIM_OSSR_DISABLE;
  sBreakDeadTimeConfig.OffStateIDLEMode = TIM_OSSI_DISABLE;
  sBreakDeadTimeConfig.LockLevel = TIM_LOCKLEVEL_OFF;
  sBreakDeadTimeConfig.DeadTime = 0;
  sBreakDeadTimeConfig.BreakState = TIM_BREAK_DISABLE;
  sBreakDeadTimeConfig.BreakPolarity = TIM_BREAKPOLARITY_HIGH;
  sBreakDeadTimeConfig.AutomaticOutput = TIM_AUTOMATICOUTPUT_DISABLE;
  if (HAL_TIMEx_ConfigBreakDeadTime(&htim1, &sBreakDeadTimeConfig) != HAL_OK)
  {
    Error_Handler();
  }
  HAL_TIM_MspPostInit(&htim1);

}

static void MX_TIM3_Init(void)
{

  TIM_ClockConfigTypeDef sClockSourceConfig = {0};
  TIM_MasterConfigTypeDef sMasterConfig = {0};
  TIM_OC_InitTypeDef sConfigOC = {0};

  htim3.Instance = TIM3;
  htim3.Init.Prescaler = 0;
  htim3.Init.CounterMode = TIM_COUNTERMODE_UP;
  htim3.Init.Period = 65535;
  htim3.Init.ClockDivision = TIM_CLOCKDIVISION_DIV1;
  htim3.Init.AutoReloadPreload = TIM_AUTORELOAD_PRELOAD_DISABLE;
  if (HAL_TIM_Base_Init(&htim3) != HAL_OK)
  {
    Error_Handler();
  }
  sClockSourceConfig.ClockSource = TIM_CLOCKSOURCE_INTERNAL;
  if (HAL_TIM_ConfigClockSource(&htim3, &sClockSourceConfig) != HAL_OK)
  {
    Error_Handler();
  }
  if (HAL_TIM_PWM_Init(&htim3) != HAL_OK)
  {
    Error_Handler();
  }
  sMasterConfig.MasterOutputTrigger = TIM_TRGO_RESET;
  sMasterConfig.MasterSlaveMode = TIM_MASTERSLAVEMODE_DISABLE;
  if (HAL_TIMEx_MasterConfigSynchronization(&htim3, &sMasterConfig) != HAL_OK)
  {
    Error_Handler();
  }
  sConfigOC.OCMode = TIM_OCMODE_PWM1;
  sConfigOC.Pulse = 0;
  sConfigOC.OCPolarity = TIM_OCPOLARITY_HIGH;
  sConfigOC.OCFastMode = TIM_OCFAST_DISABLE;
  if (HAL_TIM_PWM_ConfigChannel(&htim3, &sConfigOC, TIM_CHANNEL_1) != HAL_OK)
  {
    Error_Handler();
  }
  if (HAL_TIM_PWM_ConfigChannel(&htim3, &sConfigOC, TIM_CHANNEL_2) != HAL_OK)
  {
    Error_Handler();
  }
  if (HAL_TIM_PWM_ConfigChannel(&htim3, &sConfigOC, TIM_CHANNEL_3) != HAL_OK)
  {
    Error_Handler();
  }
  if (HAL_TIM_PWM_ConfigChannel(&htim3, &sConfigOC, TIM_CHANNEL_4) != HAL_OK)
  {
    Error_Handler();
  }
  HAL_TIM_MspPostInit(&htim3);

}

static void MX_TIM4_Init(void)
{

  TIM_ClockConfigTypeDef sClockSourceConfig = {0};
  TIM_MasterConfigTypeDef sMasterConfig = {0};
  TIM_OC_InitTypeDef sConfigOC = {0};

  htim4.Instance = TIM4;
  htim4.Init.Prescaler = 0;
  htim4.Init.CounterMode = TIM_COUNTERMODE_UP;
  htim4.Init.Period = 65535;
  htim4.Init.ClockDivision = TIM_CLOCKDIVISION_DIV1;
  htim4.Init.AutoReloadPreload = TIM_AUTORELOAD_PRELOAD_DISABLE;
  if (HAL_TIM_Base_Init(&htim4) != HAL_OK)
  {
    Error_Handler();
  }
  sClockSourceConfig.ClockSource = TIM_CLOCKSOURCE_INTERNAL;
  if (HAL_TIM_ConfigClockSource(&htim4, &sClockSourceConfig) != HAL_OK)
  {
    Error_Handler();
  }
  if (HAL_TIM_PWM_Init(&htim4) != HAL_OK)
  {
    Error_Handler();
  }
  sMasterConfig.MasterOutputTrigger = TIM_TRGO_RESET;
  sMasterConfig.MasterSlaveMode = TIM_MASTERSLAVEMODE_DISABLE;
  if (HAL_TIMEx_MasterConfigSynchronization(&htim4, &sMasterConfig) != HAL_OK)
  {
    Error_Handler();
  }
  sConfigOC.OCMode = TIM_OCMODE_PWM1;
  sConfigOC.Pulse = 0;
  sConfigOC.OCPolarity = TIM_OCPOLARITY_HIGH;
  sConfigOC.OCFastMode = TIM_OCFAST_DISABLE;
  if (HAL_TIM_PWM_ConfigChannel(&htim4, &sConfigOC, TIM_CHANNEL_1) != HAL_OK)
  {
    Error_Handler();
  }
  if (HAL_TIM_PWM_ConfigChannel(&htim4, &sConfigOC, TIM_CHANNEL_2) != HAL_OK)
  {
    Error_Handler();
  }
  if (HAL_TIM_PWM_ConfigChannel(&htim4, &sConfigOC, TIM_CHANNEL_3) != HAL_OK)
  {
    Error_Handler();
  }
  if (HAL_TIM_PWM_ConfigChannel(&htim4, &sConfigOC, TIM_CHANNEL_4) != HAL_OK)
  {
    Error_Handler();
  }
  HAL_TIM_MspPostInit(&htim4);

}

static void MX_TIM8_Init(void)
{

  TIM_ClockConfigTypeDef sClockSourceConfig = {0};
  TIM_MasterConfigTypeDef sMasterConfig = {0};

  htim8.Instance = TIM8;
  htim8.Init.Prescaler = 167;
  htim8.Init.CounterMode = TIM_COUNTERMODE_UP;
  htim8.Init.Period = 65535;
  htim8.Init.ClockDivision = TIM_CLOCKDIVISION_DIV1;
  htim8.Init.RepetitionCounter = 0;
  htim8.Init.AutoReloadPreload = TIM_AUTORELOAD_PRELOAD_DISABLE;
  if (HAL_TIM_Base_Init(&htim8) != HAL_OK)
  {
    Error_Handler();
  }
  sClockSourceConfig.ClockSource = TIM_CLOCKSOURCE_INTERNAL;
  if (HAL_TIM_ConfigClockSource(&htim8, &sClockSourceConfig) != HAL_OK)
  {
    Error_Handler();
  }
  sMasterConfig.MasterOutputTrigger = TIM_TRGO_RESET;
  sMasterConfig.MasterSlaveMode = TIM_MASTERSLAVEMODE_DISABLE;
  if (HAL_TIMEx_MasterConfigSynchronization(&htim8, &sMasterConfig) != HAL_OK)
  {
    Error_Handler();
  }

}

static void MX_TIM9_Init(void)
{

  TIM_ClockConfigTypeDef sClockSourceConfig = {0};
  TIM_SlaveConfigTypeDef sSlaveConfig = {0};
  TIM_IC_InitTypeDef sConfigIC = {0};

  htim9.Instance = TIM9;
  htim9.Init.Prescaler = 0;
  htim9.Init.CounterMode = TIM_COUNTERMODE_UP;
  htim9.Init.Period = 65535;
  htim9.Init.ClockDivision = TIM_CLOCKDIVISION_DIV1;
  htim9.Init.AutoReloadPreload = TIM_AUTORELOAD_PRELOAD_DISABLE;
  if (HAL_TIM_Base_Init(&htim9) != HAL_OK)
  {
    Error_Handler();
  }
  sClockSourceConfig.ClockSource = TIM_CLOCKSOURCE_INTERNAL;
  if (HAL_TIM_ConfigClockSource(&htim9, &sClockSourceConfig) != HAL_OK)
  {
    Error_Handler();
  }
  if (HAL_TIM_IC_Init(&htim9) != HAL_OK)
  {
    Error_Handler();
  }
  sSlaveConfig.SlaveMode = TIM_SLAVEMODE_RESET;
  sSlaveConfig.InputTrigger = TIM_TS_TI1FP1;
  sSlaveConfig.TriggerPolarity = TIM_INPUTCHANNELPOLARITY_RISING;
  sSlaveConfig.TriggerPrescaler = TIM_ICPSC_DIV1;
  sSlaveConfig.TriggerFilter = 0;
  if (HAL_TIM_SlaveConfigSynchro(&htim9, &sSlaveConfig) != HAL_OK)
  {
    Error_Handler();
  }
  sConfigIC.ICPolarity = TIM_INPUTCHANNELPOLARITY_RISING;
  sConfigIC.ICSelection = TIM_ICSELECTION_DIRECTTI;
  sConfigIC.ICPrescaler = TIM_ICPSC_DIV1;
  sConfigIC.ICFilter = 0;
  if (HAL_TIM_IC_ConfigChannel(&htim9, &sConfigIC, TIM_CHANNEL_1) != HAL_OK)
  {
    Error_Handler();
  }
  sConfigIC.ICPolarity = TIM_INPUTCHANNELPOLARITY_FALLING;
  sConfigIC.ICSelection = TIM_ICSELECTION_INDIRECTTI;
  if (HAL_TIM_IC_ConfigChannel(&htim9, &sConfigIC, TIM_CHANNEL_2) != HAL_OK)
  {
    Error_Handler();
  }

}

static void MX_TIM10_Init(void)
{

  htim10.Instance = TIM10;
  htim10.Init.Prescaler = 167;
  htim10.Init.CounterMode = TIM_COUNTERMODE_UP;
  htim10.Init.Period = 65535;
  htim10.Init.ClockDivision = TIM_CLOCKDIVISION_DIV1;
  htim10.Init.AutoReloadPreload = TIM_AUTORELOAD_PRELOAD_DISABLE;
  if (HAL_TIM_Base_Init(&htim10) != HAL_OK)
  {
    Error_Handler();
  }

}

static void MX_TIM12_Init(void)
{

  TIM_ClockConfigTypeDef sClockSourceConfig = {0};

  htim12.Instance = TIM12;
  htim12.Init.Prescaler = 16800;
  htim12.Init.CounterMode = TIM_COUNTERMODE_UP;
  htim12.Init.Period = 65535;
  htim12.Init.ClockDivision = TIM_CLOCKDIVISION_DIV1;
  htim12.Init.AutoReloadPreload = TIM_AUTORELOAD_PRELOAD_DISABLE;
  if (HAL_TIM_Base_Init(&htim12) != HAL_OK)
  {
    Error_Handler();
  }
  sClockSourceConfig.ClockSource = TIM_CLOCKSOURCE_INTERNAL;
  if (HAL_TIM_ConfigClockSource(&htim12, &sClockSourceConfig) != HAL_OK)
  {
    Error_Handler();
  }

}

static void MX_USART2_UART_Init(void)
{

  huart2.Instance = USART2;
  huart2.Init.BaudRate = 115200;
  huart2.Init.WordLength = UART_WORDLENGTH_8B;
  huart2.Init.StopBits = UART_STOPBITS_1;
  huart2.Init.Parity = UART_PARITY_NONE;
  huart2.Init.Mode = UART_MODE_TX_RX;
  huart2.Init.HwFlowCtl = UART_HWCONTROL_NONE;
  huart2.Init.OverSampling = UART_OVERSAMPLING_16;
  if (HAL_UART_Init(&huart2) != HAL_OK)
  {
    Error_Handler();
  }

}

static void MX_DMA_Init(void)
{

  /* DMA controller clock enable */
  __HAL_RCC_DMA1_CLK_ENABLE();

  /* DMA interrupt init */
  /* DMA1_Stream5_IRQn interrupt configuration */
  HAL_NVIC_SetPriority(DMA1_Stream5_IRQn, 5, 0);
  HAL_NVIC_EnableIRQ(DMA1_Stream5_IRQn);

}

static void MX_GPIO_Init(void)
{
  GPIO_InitTypeDef GPIO_InitStruct = {0};

  /* GPIO Ports Clock Enable */
  __HAL_RCC_GPIOE_CLK_ENABLE();
  __HAL_RCC_GPIOC_CLK_ENABLE();
  __HAL_RCC_GPIOH_CLK_ENABLE();
  __HAL_RCC_GPIOA_CLK_ENABLE();
  __HAL_RCC_GPIOB_CLK_ENABLE();
  __HAL_RCC_GPIOD_CLK_ENABLE();

  /*Configure GPIO pin Output Level */
  HAL_GPIO_WritePin(GPIOE, CS_I2C_SPI_Pin|CSADC_Pin|SPI2CSA_Pin, GPIO_PIN_RESET);

  /*Configure GPIO pin Output Level */
  HAL_GPIO_WritePin(OTG_FS_PowerSwitchOn_GPIO_Port, OTG_FS_PowerSwitchOn_Pin, GPIO_PIN_SET);

  /*Configure GPIO pin Output Level */
  HAL_GPIO_WritePin(GPIOC, GPIO_PIN_1, GPIO_PIN_RESET);

  /*Configure GPIO pin Output Level */
  HAL_GPIO_WritePin(GPIOB, SPI2CS1_Pin|SPI2CS2_Pin, GPIO_PIN_RESET);

  /*Configure GPIO pin Output Level */
  HAL_GPIO_WritePin(GPIOD, LD4_Pin|LD3_Pin|LD5_Pin|LD6_Pin
                          |Audio_RST_Pin, GPIO_PIN_RESET);

  /*Configure GPIO pins : CS_I2C_SPI_Pin CSADC_Pin SPI2CSA_Pin */
  GPIO_InitStruct.Pin = CS_I2C_SPI_Pin|CSADC_Pin|SPI2CSA_Pin;
  GPIO_InitStruct.Mode = GPIO_MODE_OUTPUT_PP;
  GPIO_InitStruct.Pull = GPIO_NOPULL;
  GPIO_InitStruct.Speed = GPIO_SPEED_FREQ_LOW;
  HAL_GPIO_Init(GPIOE, &GPIO_InitStruct);

  /*Configure GPIO pins : OTG_FS_PowerSwitchOn_Pin PC1 */
  GPIO_InitStruct.Pin = OTG_FS_PowerSwitchOn_Pin|GPIO_PIN_1;
  GPIO_InitStruct.Mode = GPIO_MODE_OUTPUT_PP;
  GPIO_InitStruct.Pull = GPIO_NOPULL;
  GPIO_InitStruct.Speed = GPIO_SPEED_FREQ_LOW;
  HAL_GPIO_Init(GPIOC, &GPIO_InitStruct);

  /*Configure GPIO pin : PDM_OUT_Pin */
  GPIO_InitStruct.Pin = PDM_OUT_Pin;
  GPIO_InitStruct.Mode = GPIO_MODE_AF_PP;
  GPIO_InitStruct.Pull = GPIO_NOPULL;
  GPIO_InitStruct.Speed = GPIO_SPEED_FREQ_LOW;
  GPIO_InitStruct.Alternate = GPIO_AF5_SPI2;
  HAL_GPIO_Init(PDM_OUT_GPIO_Port, &GPIO_InitStruct);

  /*Configure GPIO pin : B1_Pin */
  GPIO_InitStruct.Pin = B1_Pin;
  GPIO_InitStruct.Mode = GPIO_MODE_EVT_RISING;
  GPIO_InitStruct.Pull = GPIO_NOPULL;
  HAL_GPIO_Init(B1_GPIO_Port, &GPIO_InitStruct);

  /*Configure GPIO pin : BOOT1_Pin */
  GPIO_InitStruct.Pin = BOOT1_Pin;
  GPIO_InitStruct.Mode = GPIO_MODE_INPUT;
  GPIO_InitStruct.Pull = GPIO_NOPULL;
  HAL_GPIO_Init(BOOT1_GPIO_Port, &GPIO_InitStruct);

  /*Configure GPIO pins : SPI2CS1_Pin SPI2CS2_Pin */
  GPIO_InitStruct.Pin = SPI2CS1_Pin|SPI2CS2_Pin;
  GPIO_InitStruct.Mode = GPIO_MODE_OUTPUT_PP;
  GPIO_InitStruct.Pull = GPIO_NOPULL;
  GPIO_InitStruct.Speed = GPIO_SPEED_FREQ_LOW;
  HAL_GPIO_Init(GPIOB, &GPIO_InitStruct);

  /*Configure GPIO pins : IMD_STATUS_Pin OTG_FS_OverCurrent_Pin */
  GPIO_InitStruct.Pin = IMD_STATUS_Pin|OTG_FS_OverCurrent_Pin;
  GPIO_InitStruct.Mode = GPIO_MODE_INPUT;
  GPIO_InitStruct.Pull = GPIO_NOPULL;
  HAL_GPIO_Init(GPIOD, &GPIO_InitStruct);

  /*Configure GPIO pins : LD4_Pin LD3_Pin LD5_Pin LD6_Pin
                           Audio_RST_Pin */
  GPIO_InitStruct.Pin = LD4_Pin|LD3_Pin|LD5_Pin|LD6_Pin
                          |Audio_RST_Pin;
  GPIO_InitStruct.Mode = GPIO_MODE_OUTPUT_PP;
  GPIO_InitStruct.Pull = GPIO_NOPULL;
  GPIO_InitStruct.Speed = GPIO_SPEED_FREQ_LOW;
  HAL_GPIO_Init(GPIOD, &GPIO_InitStruct);

  /*Configure GPIO pin : MEMS_INT2_Pin */
  GPIO_InitStruct.Pin = MEMS_INT2_Pin;
  GPIO_InitStruct.Mode = GPIO_MODE_EVT_RISING;
  GPIO_InitStruct.Pull = GPIO_NOPULL;
  HAL_GPIO_Init(MEMS_INT2_GPIO_Port, &GPIO_InitStruct);

}

/* USER CODE BEGIN 4 */
//assign AIR to GPIO PIN

uint32_t ICValue = 0;
void HAL_TIM_IC_CaptureCallback(TIM_HandleTypeDef *htim) {
	if (htim->Channel == HAL_TIM_ACTIVE_CHANNEL_1)  // If the interrupt is triggered by channel 1
	{
		// Read the IC value
		ICValue = HAL_TIM_ReadCapturedValue(htim, TIM_CHANNEL_1);
		if (ICValue != 0)
		{
			// calculate the Duty Cycle
			a_d.Duty = (HAL_TIM_ReadCapturedValue(htim, TIM_CHANNEL_2) *100)/ICValue;//add 1 to duty cycle for some reason! but its accurate

			a_d.Freq = 168000000/ICValue;
			/*if(i<5){
				printf("Duty:%f Freq:%ul\r\n",*a_d.Duty,*a_d.Freq);i++;
			}*/
		}
	}
}

void HAL_UART_RxCpltCallback(UART_HandleTypeDef *huart)
{
    HAL_UART_Transmit_IT(&huart2, UART2_rxBuffer, 1);
    HAL_UART_Receive_IT(&huart2, UART2_rxBuffer, 1);
	 if(a_d.stop_flag==1){
		a_d.stop_flag=0;
	 }
	 else{
		a_d.stop_flag=1;
	 }
}

void init_appdata(app_data *app_data_init)
{
	//a_d = *app_data_init;//placed in because pointers if not saved will not be able to be passed to other files

	if(a_d.debug==1){
		printf("\r\nDebugging init_appdata(main)\r\n");
		int data[3],sent[3];
		sent[0]=0;
		while (sent[0]<3){
			printf("prescaler: %lu\r\n",app_data_init->hspi1->Init.BaudRatePrescaler);
			printf("prescaler: %lu\r\n",a_d.hspi1->Init.BaudRatePrescaler);
			sent[0] +=1;
			HAL_GPIO_WritePin(GPIOA, GPIO_PIN_4, GPIO_PIN_RESET);
			HAL_SPI_TransmitReceive(app_data_init->hspi1, (uint8_t *) sent,(uint8_t *) data,1,100);
			printf("data sent %d :: data in init: %d \r\n",sent[0],data[0]);
			HAL_GPIO_WritePin(GPIOA, GPIO_PIN_4, GPIO_PIN_SET);
			HAL_Delay(1000);
		}
	}
	init_app_data_6813(&a_d);
	init_app_data_help(&a_d);
	init_app_data_bms(&a_d);
	init_app_data_dt(&a_d);
	init_app_data_bmsp(&a_d);
}
/* USER CODE END 4 */

void Start_Temp_Mon(void *argument)
{
  /* USER CODE BEGIN 5 */
  /* Infinite loop */
  for(;;)
  {
	  if(0 > a_d.max_temp){
		  a_d.temp_safe = 0;
	  }
	  else{
		  a_d.temp_safe = 1;
	  }
	  while(a_d.shutdown){osDelay(1000);};
	  osDelay(200);
  }
  /* USER CODE END 5 */
}

void Start_V_Mon(void *argument)
{
  /* USER CODE BEGIN Start_V_Mon */
  /* Infinite loop */
  for(;;)
  {
	  //always checks if below minimum - only during charging mode does it check if voltage to high
	  coll_cell_volt();//collects cell voltage every .1 second can be faster
		if(a_d.seg[0].v_min > a_d.min_cell_volt){//update to do for all segments
			a_d.volt_safe = 1;
		}
		else{
			a_d.volt_safe = 0;
		}
	  while(a_d.shutdown){osDelay(1000);};//change this later stuck forever
	  osDelay(100);//change to 100 if not less
  }
  /* USER CODE END Start_V_Mon */
}

void CLI_START(void *argument)
{
  /* USER CODE BEGIN CLI_START */
	APP_CMD_t new_cmd;
  /* Infinite loop */
  for(;;)
  {
	xTaskNotifyWait(0, 0, NULL, HAL_MAX_DELAY);
    if(cli_msg_pending == 1) {
        taskENTER_CRITICAL();

        for(uint8_t i = 0; i < RXBUF_SIZE; i++) {
            new_cmd.COMMAND[i] = command_buf[i];
        }
        memset(command_buf, 0, RXBUF_SIZE);
        taskEXIT_CRITICAL();

        cli_handle_command(new_cmd.COMMAND);
        cli_msg_pending = 0;
        //osDelay(100);
    }
  }
  /* USER CODE END CLI_START */
}

void Start_V_Display(void *argument)
{
  /* USER CODE BEGIN Start_V_Display */
	int i = 0;
  /* Infinite loop */
  for(;;)
  {
	  //printf("boogers\r\n");
	  if(a_d.VDisp == 5){//1
		  printf("boogers\r\n");
		  print_cells(0);//causes cli freeze why? if called anywhere else no cli freeze
		  a_d.VDisp = 0;
		  osDelay(1000);
		  i++;
		  if(i>=3){
			  i=0;
			  a_d.VDisp = 0;
		  }
	  }
	  osDelay(10000);
  }
  /* USER CODE END Start_V_Display */
}

void Start_Charging(void *argument)
{
  /* USER CODE BEGIN Start_Charging */
  /* Infinite loop */
  for(;;)
  {
	if(a_d.mode==0){//0
		printf(" in charge\r\n");
		if(a_d.max_curr>0){
			//ADC of hall effect-at pin PC1
			if(a_d.hall_current>=a_d.max_curr+2){//check if pack current >= charge current limit+xAmps(x=us defined threshold)
				//HAL_GPIO_WritePin(GPIOA, GPIO_PIN_10, GPIO_PIN_RESET);//turn off charging
				a_d.curr_safe = 0;

			}
			else{
				//allow charging to continue - repeats the loop
				a_d.curr_safe = 1;
			}
		}
		else{
			//HAL_GPIO_WritePin(GPIOA, GPIO_PIN_10, GPIO_PIN_RESET);//turn off power input
			a_d.curr_safe = 0;
		}
	}
    osDelay(1000);
  }
  /* USER CODE END Start_Charging */
}

void Start_Discharging(void *argument)
{
  /* USER CODE BEGIN Start_Discharging */
  /* Infinite loop */
  for(;;)
  {
	if(a_d.mode==1){
		printf(" in dismode charge\r\n");
		if(a_d.max_curr>0){
			if(-(a_d.hall_current) > -(a_d.max_curr+1)){//check if pack current >= discharge current limit+xAmps(x=us defined threshold)
				//HAL_GPIO_WritePin(GPIOD, GPIO_PIN_7, GPIO_PIN_RESET);//turn off power output
				a_d.curr_safe = 0;
			}
			else{
				a_d.curr_safe = 1;
			}
		}
		else{
			//HAL_GPIO_WritePin(GPIOD, GPIO_PIN_7, GPIO_PIN_RESET);//turn off power output
			a_d.curr_safe = 0;
		}
	}
    osDelay(1000);
  }
  /* USER CODE END Start_Discharging */
}

void Start_Balancing(void *argument)
{
  /* USER CODE BEGIN Start_Balancing */
  /* Infinite loop */
  for(;;)
  {
	  if(a_d.mode ==2){
		  for(int i=0; i<3;i++){
			  printf(" in bal\r\n");
			  bal_all(0,NULL);
		  }
		  a_d.mode = 127;
		  printf("\r\nBALANCING MODE DONE\r\n");
	  }
    osDelay(1000);
  }
  /* USER CODE END Start_Balancing */
}

void Start_CURR_COLL(void *argument)
{
  /* USER CODE BEGIN Start_CURR_COLL */
	char spi_rx_buffer[4]={0};
  /* Infinite loop */
  for(;;)
  {
	  // Poll ADC1 Perihperal & TimeOut = 1mSec
	  //HAL_ADC_PollForConversion(&hadc1, 10);
	 //	Read The ADC Conversion Result & Map It To PWM DutyCycle
	  //printf("current voltage: %lu\r\n",HAL_ADC_GetValue(&hadc1));
	  if(0){
		  CSE4_RESET
		  u_sleep(3);
		  HAL_SPI_Receive(a_d.hspi1, (uint8_t *) spi_rx_buffer,2,100);
		  u_sleep(3);
		  CSE4_SET
		  printf("hal lvl:%.02x,%.02x",spi_rx_buffer[0],spi_rx_buffer[1]);
		  a_d.hall_current = spi_rx_buffer[0]||spi_rx_buffer[1]>>8;
	  }
	  while(a_d.shutdown){osDelay(1000);};//fix stuck forever
	  osDelay(100);
  }
  /* USER CODE END Start_CURR_COLL */
}

void StartSafetyCheck(void *argument)
{
  /* USER CODE BEGIN StartSafetyCheck */
  /* Infinite loop */
  for(;;)
  {
	  if(a_d.temp_safe&&a_d.volt_safe&&a_d.curr_safe){;}
	  else{
		  //set AIR to shutdown -
		  HAL_GPIO_WritePin(GPIOD, GPIO_PIN_7, GPIO_PIN_RESET);//turn off power output
		  printf("NOT SAFE\r\n");
	  }
    osDelay(10);
  }
  /* USER CODE END StartSafetyCheck */
}

void ToECUTask(void *argument)
{
  /* USER CODE BEGIN ToECUTask */
  /* Infinite loop */
  for(;;)
  {
	CAN_TxHeaderTypeDef TxHeader;
	TxHeader.StdId = 0x420;
	TxHeader.ExtId = 0x00;
	TxHeader.IDE = CAN_ID_STD;
	TxHeader.RTR = CAN_RTR_DATA;
	TxHeader.DLC = 8;
	TxHeader.TransmitGlobalTime = DISABLE;
	uint32_t TxMailbox;
	//uint8_t TxData[8] = {0x01,0x02,0x03,0x04,0x05,0x06,0x07,0x08};
	uint8_t TxData[3] = {0x90 ,0xAB, 0x2A};
	//every data frame contains 8 bytes of data
	//if (HAL_CAN_AddTxMessage(a_d->hcan1, &TxHeader, TxData, &TxMailbox) != HAL_OK)
	if (HAL_CAN_AddTxMessage(&hcan1, &TxHeader, TxData, &TxMailbox) != HAL_OK)
	{
	  /* Transmission request Error */
		//printf("broke\r\n");
	  //Error_Handler();
	}
    osDelay(100);

  }
  /* USER CODE END ToECUTask */
}

void HAL_TIM_PeriodElapsedCallback(TIM_HandleTypeDef *htim)
{
  if (htim->Instance == TIM2) {
    HAL_IncTick();
  }
}

void Error_Handler(void)
{
  __disable_irq();
  while (1)
  {
  }
}

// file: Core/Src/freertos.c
/* USER CODE BEGIN Header */
/**
  ******************************************************************************
  * File Name          : freertos.c
  * Description        : Code for freertos applications
  ******************************************************************************
  * @attention
  *
  * Copyright (c) 2023 STMicroelectronics.
  * All rights reserved.
  *
  * This software is licensed under terms that can be found in the LICENSE file
  * in the root directory of this software component.
  * If no LICENSE file comes with this software, it is provided AS-IS.
  *
  ******************************************************************************
  */
/* USER CODE END Header */

#include "FreeRTOS.h"
#include "task.h"
#include "main.h"

/* Hook prototypes */
void vApplicationDaemonTaskStartupHook(void);

/* USER CODE BEGIN DAEMON_TASK_STARTUP_HOOK */
void vApplicationDaemonTaskStartupHook(void)
{
}
/* USER CODE END DAEMON_TASK_STARTUP_HOOK */
